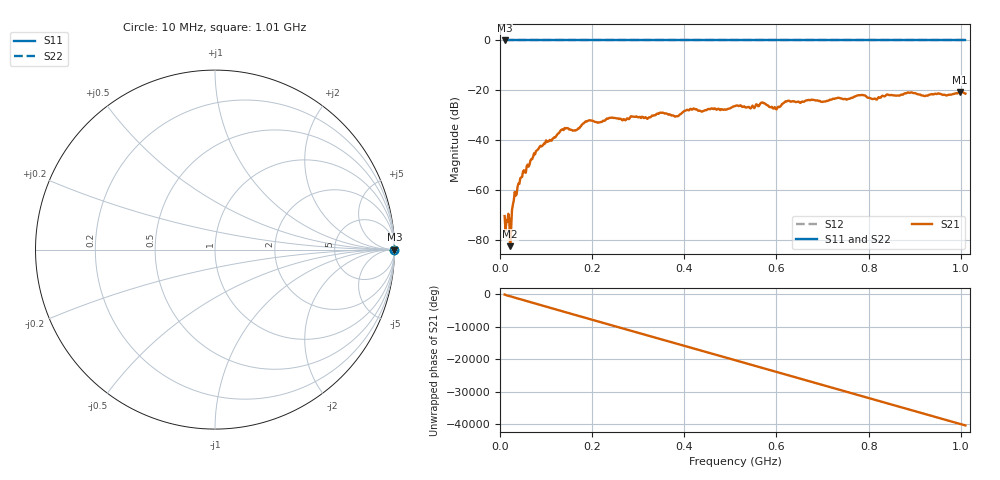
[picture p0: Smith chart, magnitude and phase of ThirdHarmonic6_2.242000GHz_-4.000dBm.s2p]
! 8/17/2025 2:37:49 AM
! C:\ANRITSUVNA\TEMP\TEMP.S2P
! CHANNEL.1
! TR.MEASUREMENT
! RAW.DATA
! RF.CORRECTION.OFF
! AVERAGING.OFF
! IF.BANDWIDTH: 5KHZ
! SWEEPTYPE:  FREQ.SWEEP(Linear)
! Reference Plane Port Info
! PORT:  PORT1  PORT2
! DISTANCE:  0  m  0  m
! TIME:  0  s  0  s
! PHASE.OFFSET:  0  deg.  0  deg.
! LOSS:  0  dB  0  dB
! REF.LOSS:  0  dB  0  dB
! REF.FREQ:  0  Hz  0  Hz
! Power Info
! POWER:  -20  dBm  -20  dBm
! EFF.POWER:  -20  dBm  -20  dBm
! SOURCE.ATTEN:  0  dB  0  dB
! TEST.ATTEN:  0  dB  0  dB
# GHZ S RI R 50.0
! FREQ.GHZ  S11RE  S11IM  S21RE  S21IM  S12RE  S12IM  S22RE  S22IM
!; PortSelection: Port_12
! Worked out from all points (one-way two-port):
!   501 points, 10 MHz to 1.01 GHz, reference 50 ohm
!   highest |S21| = -20.61 dB at 998 MHz (marker M1); lowest = -82.4 dB at 22 MHz (marker M2)
!   lowest |S11| = 0.0 dB at 10 MHz (marker M3)
!   |S11| at or under -10 dB: nowhere
!   |S22| runs from 0.0 to 0.0 dB; largest |S21 - S12| = 1.1
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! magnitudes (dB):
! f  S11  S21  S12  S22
! 10 MHz  0.0  -70.4  0.0  0.0
! 22 MHz  0.0  -82.4  0.0  0.0
! 26 MHz  0.0  -68.0  0.0  0.0
! 30 MHz  0.0  -64.0  0.0  0.0
! 42 MHz  0.0  -57.5  0.0  0.0
! 78 MHz  0.0  -44.4  0.0  0.0
! 136 MHz  0.0  -35.6  0.0  0.0
! 162 MHz  0.0  -36.0  0.0  0.0
! 178 MHz  0.0  -33.7  0.0  0.0
! 344 MHz  0.0  -29.4  0.0  0.0
! 384 MHz  0.0  -30.4  0.0  0.0
! 416 MHz  0.0  -27.7  0.0  0.0
! 510 MHz  0.0  -26.3  0.0  0.0
! 548 MHz  0.0  -26.1  0.0  0.0
! 570 MHz  0.0  -24.8  0.0  0.0
! 596 MHz  0.0  -26.7  0.0  0.0
! 624 MHz  0.0  -24.2  0.0  0.0
! 678 MHz  0.0  -23.8  0.0  0.0
! 814 MHz  0.0  -23.3  0.0  0.0
! 844 MHz  0.0  -21.9  0.0  0.0
! 998 MHz  0.0  -20.6  0.0  0.0
! 1.01 GHz  0.0  -21.3  0.0  0.0
